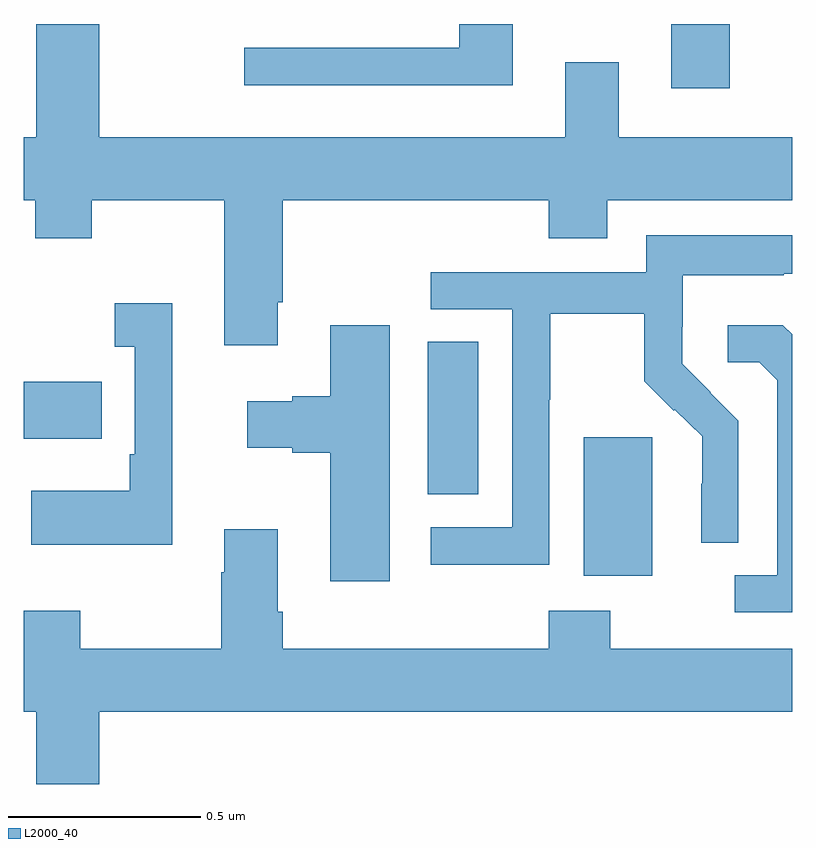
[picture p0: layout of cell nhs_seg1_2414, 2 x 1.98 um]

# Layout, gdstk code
import gdstk
lib = gdstk.Library(unit=1e-6, precision=1e-09)
def R(c, l, rs):  # rectangles x0, y0, x1, y1
    for r in rs: c.add(gdstk.rectangle(r[:2], r[2:], *l))
def P(c, l, *ps):  # polygons
    for p in ps: c.add(gdstk.Polygon(p, *l))
L2000_40 = (2000, 40)

nhs_seg1_2414 = lib.new_cell('nhs_seg1_2414')
R(nhs_seg1_2414, L2000_40, [(142.457,542.762,142.636,543.123), (142.052,542.974,142.183,543.371), (141,543.119,141.203,543.267), (142.685,544.032,142.838,544.199)])
P(nhs_seg1_2414, L2000_40, [(142.273,544.199),(142.133,544.199),(142.133,544.137),(141.573,544.137),(141.573,544.04),(142.273,544.04)],
  [(141.661,543.475),(141.674,543.475),(141.674,543.74),(142.367,543.74),(142.367,543.641),(142.519,543.641),(142.519,543.74),(143,543.74),(143,543.904),(142.549,543.904),(142.549,544.099),(142.409,544.099),(142.409,543.904),(141.196,543.904),(141.196,544.199),(141.032,544.199),(141.032,543.904),(141,543.904),(141,543.74),(141.029,543.74),(141.029,543.641),(141.177,543.641),(141.177,543.74),(141.521,543.74),(141.521,543.363),(141.661,543.363)],
  [(142.368,543.22),(142.371,543.22),(142.371,543.444),(142.615,543.444),(142.615,543.269),(142.692,543.192),(142.695,543.195),(142.766,543.125),(142.766,543.002),(142.764,543.002),(142.764,542.848),(142.86,542.848),(142.86,543.166),(142.787,543.239),(142.788,543.24),(142.714,543.314),(142.714,543.411),(142.716,543.411),(142.716,543.545),(142.979,543.545),(142.979,543.549),(143,543.549),(143,543.649),(142.62,543.649),(142.62,543.552),(142.059,543.552),(142.059,543.456),(142.272,543.456),(142.272,542.889),(142.059,542.889),(142.059,542.791),(142.368,542.791)],
  [(141.386,543.472),(141.237,543.472),(141.237,543.359),(141.288,543.359),(141.288,543.079),(141.276,543.079),(141.276,542.983),(141.019,542.983),(141.019,542.843),(141.386,542.843)],
  [(143,543.391),(142.976,543.415),(142.833,543.415),(142.833,543.318),(142.914,543.318),(142.961,543.271),(142.961,542.763),(142.851,542.763),(142.851,542.667),(143,542.667)],
  [(141.952,543.415),(141.797,543.415),(141.797,543.23),(141.698,543.23),(141.698,543.217),(141.582,543.217),(141.582,543.095),(141.698,543.095),(141.698,543.083),(141.797,543.083),(141.797,542.748),(141.952,542.748)],
  [(141.196,542.408),(143,542.408),(143,542.572),(142.527,542.572),(142.527,542.671),(142.367,542.671),(142.367,542.572),(141.674,542.572),(141.674,542.668),(141.661,542.668),(141.661,542.884),(141.521,542.884),(141.521,542.771),(141.514,542.771),(141.514,542.572),(141.147,542.572),(141.147,542.671),(141,542.671),(141,542.408),(141.032,542.408),(141.032,542.22),(141.196,542.22)])

lib.write_gds('nhs_seg1_2414.gds')
